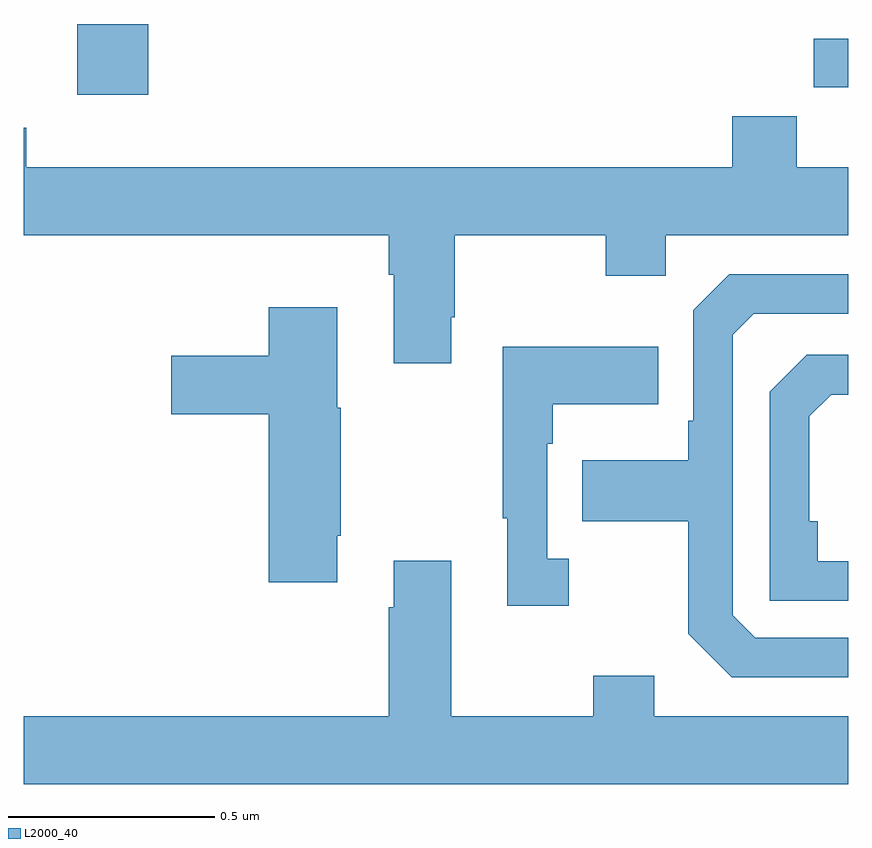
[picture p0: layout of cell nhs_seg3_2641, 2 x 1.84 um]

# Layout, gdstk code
import gdstk
lib = gdstk.Library(unit=1e-6, precision=1e-09)
def R(c, l, rs):  # rectangles x0, y0, x1, y1
    for r in rs: c.add(gdstk.rectangle(r[:2], r[2:], *l))
def P(c, l, *ps):  # polygons
    for p in ps: c.add(gdstk.Polygon(p, *l))
L2000_40 = (2000, 40)

nhs_seg3_2641 = lib.new_cell('nhs_seg3_2641')
R(nhs_seg3_2641, L2000_40, [(143.129,729.228,143.302,729.4), (144.916,729.246,145,729.364)])
P(nhs_seg3_2641, L2000_40, [(143,729.148),(143,728.888),(143.885,728.888),(143.885,728.792),(143.897,728.792),(143.897,728.577),(144.037,728.577),(144.037,728.689),(144.045,728.689),(144.045,728.888),(144.412,728.888),(144.412,728.789),(144.558,728.789),(144.558,728.888),(145,728.888),(145,729.052),(144.875,729.052),(144.875,729.176),(144.719,729.176),(144.719,729.052),(143.006,729.052),(143.006,729.148)],
  [(145,727.911),(144.774,727.911),(144.72,727.965),(144.72,728.646),(144.771,728.697),(145,728.697),(145,728.793),(144.711,728.793),(144.624,728.706),(144.624,728.437),(144.612,728.437),(144.612,728.341),(144.355,728.341),(144.355,728.194),(144.612,728.194),(144.612,727.921),(144.717,727.815),(145,727.815)],
  [(143.761,728.158),(143.769,728.158),(143.769,728.469),(143.761,728.469),(143.761,728.713),(143.594,728.713),(143.594,728.595),(143.358,728.595),(143.358,728.453),(143.594,728.453),(143.594,728.046),(143.761,728.046)],
  [(144.322,728.102),(144.27,728.102),(144.27,728.381),(144.283,728.381),(144.283,728.477),(144.539,728.477),(144.539,728.617),(144.162,728.617),(144.162,728.201),(144.173,728.201),(144.173,727.989),(144.322,727.989)],
  [(145,728.097),(144.926,728.097),(144.926,728.194),(144.906,728.194),(144.906,728.448),(144.959,728.501),(145,728.501),(145,728.598),(144.9,728.598),(144.81,728.508),(144.81,728.001),(145,728.001)],
  [(145,727.72),(144.529,727.72),(144.529,727.819),(144.382,727.819),(144.382,727.72),(144.037,727.72),(144.037,728.098),(143.897,728.098),(143.897,727.985),(143.885,727.985),(143.885,727.72),(143,727.72),(143,727.556),(145,727.556)])

lib.write_gds('nhs_seg3_2641.gds')
